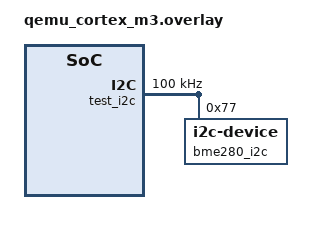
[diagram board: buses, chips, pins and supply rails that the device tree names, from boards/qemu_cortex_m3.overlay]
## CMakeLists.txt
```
# SPDX-License-Identifier: Apache-2.0

cmake_minimum_required(VERSION 3.20.0)

find_package(Zephyr REQUIRED HINTS $ENV{ZEPHYR_BASE})
project(bme280_unit_test)

target_sources(app PRIVATE
    src/bme280_test.c
    ../../bme280_direct/bme280_compensation.c
)

target_include_directories(app PRIVATE
    ../../bme280_direct
)
```

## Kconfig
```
mainmenu "BME280 Unit Test"

source "Kconfig.zephyr"
```

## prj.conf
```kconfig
CONFIG_ZTEST=y
CONFIG_ZTEST_ASSERT_VERBOSE=2
```

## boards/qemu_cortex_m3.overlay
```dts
#include <zephyr/dt-bindings/i2c/i2c.h>

/ {
	test_i2c: i2c@400 {
		compatible = "zephyr,i2c-emul-controller";
		status = "okay";
		reg = <0x400 4>;
		clock-frequency = <I2C_BITRATE_STANDARD>;
		#address-cells = <1>;
		#size-cells = <0>;

		bme280_i2c: bme280@77 {
			compatible = "i2c-device";
			status = "okay";
			reg = <0x77>;
		};
	};
};
```

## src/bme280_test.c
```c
#include <zephyr/devicetree.h>
#include <zephyr/ztest.h>

#include "bme280_direct.h"

#define BME280_TEST_NODE DT_NODELABEL(bme280_i2c)

ZTEST(bme280_test_suite, test_devicetree_configuration)
{
	zassert_true(
		DT_NODE_EXISTS(BME280_TEST_NODE),
		"BME280 Devicetree node does not exist");

#if DT_NODE_EXISTS(BME280_TEST_NODE)
	zassert_true(
		DT_NODE_HAS_STATUS(BME280_TEST_NODE, okay),
		"BME280 node is not enabled");

	zassert_equal(
		DT_REG_ADDR(BME280_TEST_NODE),
		0x77,
		"Expected address 0x77");
#endif
}

ZTEST(bme280_test_suite, test_temperature_datasheet_example)
{
	struct bme280_temp_calib calib = {
		.dig_t1 = 27504,
		.dig_t2 = 26435,
		.dig_t3 = -1000
	};

	int32_t temperature =
		bme280_direct_compensate_temperature(
			519888, &calib);

	zassert_equal(
		temperature,
		2508,
		"Expected 25.08 C, got %d",
		temperature);
}

ZTEST(bme280_test_suite, test_temperature_sanity)
{
	struct bme280_temp_calib calib = {
		.dig_t1 = 27504,
		.dig_t2 = 26435,
		.dig_t3 = -1000
	};

	int32_t lower_temperature =
		bme280_direct_compensate_temperature(
			480000, &calib);

	int32_t higher_temperature =
		bme280_direct_compensate_temperature(
			550000, &calib);

	zassert_true(
		higher_temperature > lower_temperature,
		"Higher ADC input should produce higher temperature");

	zassert_true(
		lower_temperature > -4000 &&
		higher_temperature < 8500,
		"Temperature is outside the BME280 range");
}

ZTEST_SUITE(bme280_test_suite, NULL, NULL, NULL, NULL, NULL);
```
